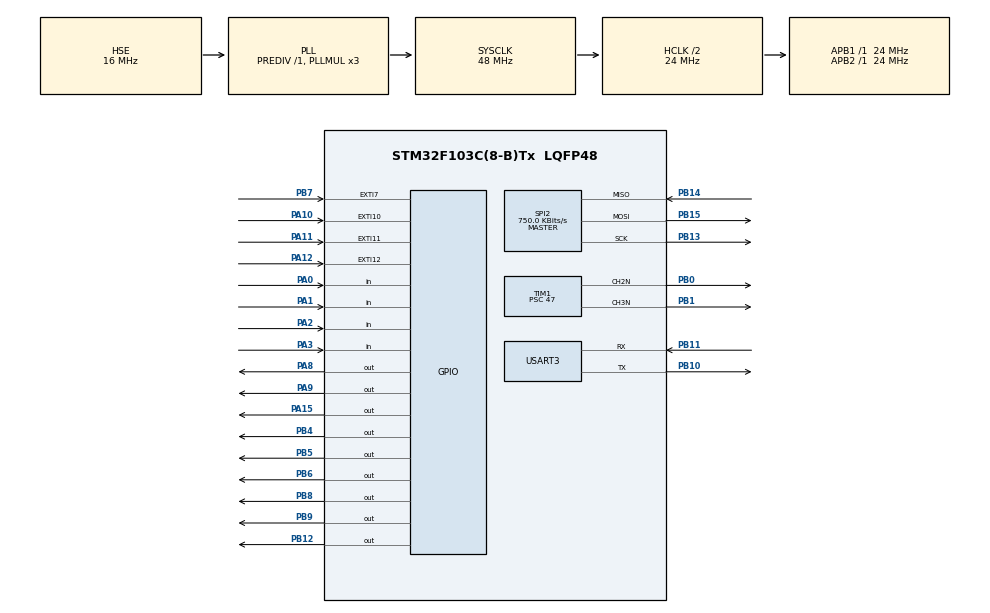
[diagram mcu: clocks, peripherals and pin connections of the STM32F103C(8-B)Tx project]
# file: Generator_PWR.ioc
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Mcu.Family=STM32F1
Mcu.Name=STM32F103C(8-B)Tx
Mcu.Package=LQFP48
NVIC.EXTI15_10_IRQn=true\:0\:0\:false\:false\:true\:true\:true
NVIC.EXTI9_5_IRQn=true\:0\:0\:false\:false\:true\:true\:true
NVIC.PriorityGroup=NVIC_PRIORITYGROUP_4
NVIC.TIM2_IRQn=true\:0\:0\:false\:false\:true\:true\:true
NVIC.TIM3_IRQn=true\:0\:0\:false\:false\:true\:true\:true
NVIC.TIM4_IRQn=true\:0\:0\:false\:false\:true\:true\:true
NVIC.USART3_IRQn=true\:0\:0\:false\:false\:true\:true\:true
PA0-WKUP.GPIO_PuPd=GPIO_PULLDOWN
PA0-WKUP.Signal=GPIO_Input
PA1.GPIO_PuPd=GPIO_PULLDOWN
PA1.Signal=GPIO_Input
PA10.GPIO_PuPd=GPIO_PULLDOWN
PA10.Signal=GPXTI10
PA11.GPIO_PuPd=GPIO_PULLDOWN
PA11.Signal=GPXTI11
PA12.GPIO_PuPd=GPIO_PULLDOWN
PA12.Signal=GPXTI12
PA13.Mode=Serial_Wire
PA13.Signal=SYS_JTMS-SWDIO
PA14.Mode=Serial_Wire
PA14.Signal=SYS_JTCK-SWCLK
PA15.GPIO_PuPd=GPIO_PULLDOWN
PA15.Signal=GPIO_Output
PA2.GPIO_PuPd=GPIO_PULLDOWN
PA2.Signal=GPIO_Input
PA3.GPIO_PuPd=GPIO_PULLDOWN
PA3.Signal=GPIO_Input
PA8.GPIO_PuPd=GPIO_PULLDOWN
PA8.GPIO_Speed=GPIO_SPEED_FREQ_MEDIUM
PA8.Signal=GPIO_Output
PA9.GPIO_PuPd=GPIO_PULLDOWN
PA9.GPIO_Speed=GPIO_SPEED_FREQ_MEDIUM
PA9.Signal=GPIO_Output
PB0.Mode=PWM Generation2 CH2N
PB0.Signal=TIM1_CH2N
PB1.Mode=PWM Generation3 CH3N
PB1.Signal=TIM1_CH3N
PB10.Mode=Asynchronous
PB10.Signal=USART3_TX
PB11.Mode=Asynchronous
PB11.Signal=USART3_RX
PB12.GPIO_PuPd=GPIO_PULLDOWN
PB12.GPIO_Speed=GPIO_SPEED_FREQ_MEDIUM
PB12.PinState=GPIO_PIN_RESET
PB12.Signal=GPIO_Output
PB13.Mode=Full_Duplex_Master
PB13.Signal=SPI2_SCK
PB14.Mode=Full_Duplex_Master
PB14.Signal=SPI2_MISO
PB15.Mode=Full_Duplex_Master
PB15.Signal=SPI2_MOSI
PB4.GPIO_PuPd=GPIO_PULLDOWN
PB4.GPIO_Speed=GPIO_SPEED_FREQ_MEDIUM
PB4.Signal=GPIO_Output
PB5.GPIO_PuPd=GPIO_PULLDOWN
PB5.GPIO_Speed=GPIO_SPEED_FREQ_MEDIUM
PB5.Signal=GPIO_Output
PB6.GPIO_PuPd=GPIO_PULLDOWN
PB6.GPIO_Speed=GPIO_SPEED_FREQ_MEDIUM
PB6.Signal=GPIO_Output
PB7.GPIO_PuPd=GPIO_PULLDOWN
PB7.Signal=GPXTI7
PB8.GPIO_PuPd=GPIO_PULLDOWN
PB8.GPIO_Speed=GPIO_SPEED_FREQ_MEDIUM
PB8.Signal=GPIO_Output
PB9.GPIO_PuPd=GPIO_PULLDOWN
PB9.GPIO_Speed=GPIO_SPEED_FREQ_MEDIUM
PB9.Signal=GPIO_Output
PD0-OSC_IN.Mode=HSE-External-Oscillator
PD0-OSC_IN.Signal=RCC_OSC_IN
PD1-OSC_OUT.Mode=HSE-External-Oscillator
PD1-OSC_OUT.Signal=RCC_OSC_OUT
ProjectManager.HeapSize=0x200
ProjectManager.StackSize=0x400
ProjectManager.TargetToolchain=TrueSTUDIO
RCC.AHBCLKDivider=RCC_SYSCLK_DIV2
RCC.AHBFreq_Value=24000000
RCC.APB1Freq_Value=24000000
RCC.APB1TimFreq_Value=24000000
RCC.APB2Freq_Value=24000000
RCC.APB2TimFreq_Value=24000000
RCC.HCLKFreq_Value=24000000
RCC.HSE_VALUE=16000000
RCC.PLLMUL=RCC_PLL_MUL3
RCC.PLLSourceVirtual=RCC_PLLSOURCE_HSE
RCC.SYSCLKFreq_VALUE=48000000
RCC.SYSCLKSource=RCC_SYSCLKSOURCE_PLLCLK
RCC.USBFreq_Value=48000000
SPI2.BaudRatePrescaler=SPI_BAUDRATEPRESCALER_32
SPI2.CalculateBaudRate=750.0 KBits/s
SPI2.DataSize=SPI_DATASIZE_16BIT
SPI2.Direction=SPI_DIRECTION_2LINES
SPI2.Mode=SPI_MODE_MASTER
SPI2.VirtualType=VM_MASTER
TIM1.BreakPolarity=TIM_BREAKPOLARITY_HIGH
TIM1.Channel-PWM\ Generation2\ CH2N=TIM_CHANNEL_2
TIM1.Channel-PWM\ Generation3\ CH3N=TIM_CHANNEL_3
TIM1.OC2Preload_PWM=ENABLE
TIM1.OC3Preload_PWM=ENABLE
TIM1.OCMode_PWM-PWM\ Generation2\ CH2N=TIM_OCMODE_PWM2
TIM1.OCMode_PWM-PWM\ Generation3\ CH3N=TIM_OCMODE_PWM2
TIM1.OCNPolarity_2=TIM_OCNPOLARITY_HIGH
TIM1.OCNPolarity_3=TIM_OCNPOLARITY_HIGH
TIM1.Period=10000
TIM1.Prescaler=47
TIM1.Pulse-PWM\ Generation2\ CH2N=9975
TIM1.Pulse-PWM\ Generation3\ CH3N=9975
TIM1.RepetitionCounter=4
TIM2.Period=49
TIM2.Prescaler=23
TIM3.Period=49
TIM3.Prescaler=23
TIM4.Period=49
TIM4.Prescaler=23
USART3.VirtualMode=VM_ASYNC
VP_TIM1_VS_OPM.Mode=OPM_bit
VP_TIM2_VS_ClockSourceINT.Mode=Internal
VP_TIM3_VS_ClockSourceINT.Mode=Internal
VP_TIM4_VS_ClockSourceINT.Mode=Internal
board=custom

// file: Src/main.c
/* USER CODE BEGIN Header */
/**
  ******************************************************************************
  * @file           : main.c
  * @brief          : Main program body
  ******************************************************************************
  * @attention
  *
  * <h2><center>&copy; Copyright (c) 2020 STMicroelectronics.
  * All rights reserved.</center></h2>
  *
  * This software component is licensed by ST under BSD 3-Clause license,
  * the "License"; You may not use this file except in compliance with the
  * License. You may obtain a copy of the License at:
  *                        opensource.org/licenses/BSD-3-Clause
  *
  ******************************************************************************
  */
/* USER CODE END Header */
#include "main.h"
#include "spi.h"
#include "tim.h"
#include "usart.h"
#include "gpio.h"

/* USER CODE BEGIN Includes */
#include "mb.h"
#include "mbport.h"
#include "user_mb_app.h"

#include "measuring_vd_vz.h"
#include "mode.h"
/* USER CODE END Includes */

/* USER CODE BEGIN PD */
extern uint16_t usSRegInBuf[];
extern uint16_t usSRegHoldBuf[];
/* USER CODE END PD */

/* USER CODE BEGIN PM */
int mode, start = 0;
/* USER CODE END PM */

void SystemClock_Config(void);

int main(void)
{

  /* MCU Configuration--------------------------------------------------------*/

  /* Reset of all peripherals, Initializes the Flash interface and the Systick. */
  HAL_Init();

  /* Configure the system clock */
  SystemClock_Config();

  /* Initialize all configured peripherals */
  MX_GPIO_Init();
  MX_SPI2_Init();
  MX_TIM1_Init();
  MX_TIM4_Init();
  MX_USART3_UART_Init();
  MX_TIM2_Init();
  MX_TIM3_Init();
  /* USER CODE BEGIN 2 */

	ISTD_ON;	ISTZ_ON;

	//HAL_TIMEx_PWMN_Stop(&htim1, TIM_CHANNEL_2);
	//HAL_TIMEx_PWMN_Stop(&htim1, TIM_CHANNEL_3);

	//configurationADC();

	eMBInit(MB_RTU, 2, &huart3, 115200, &htim4);
	eMBEnable();

  /* USER CODE END 2 */

  /* Infinite loop */
  /* USER CODE BEGIN WHILE */

  while (1)
  {
	  mode = usSRegHoldBuf[0];
	  start = usSRegHoldBuf[1];

	  switch (mode)
	  {
		  case 0:
		  waiting_mode();
		  break;

		  case 1:

		  HAL_GPIO_WritePin(GPIOB, GPIO_PIN_8, OFF); HAL_GPIO_WritePin(GPIOB, GPIO_PIN_9, ON);  //Светодиод катода диода
		  HAL_GPIO_WritePin(GPIOB, GPIO_PIN_6, OFF); HAL_GPIO_WritePin(GPIOB, GPIO_PIN_5, ON);  //Светодиод режима диода

			  if (start == 1)
			  {
				  modeVD();
			  }

			  if (start == 2)
			  {
				  modeVD_pulse();
			  }

		  break;

		  case 2:

		  HAL_GPIO_WritePin(GPIOB, GPIO_PIN_9, OFF); HAL_GPIO_WritePin(GPIOB, GPIO_PIN_8, ON);   //Светодиод катода VZ
		  HAL_GPIO_WritePin(GPIOB, GPIO_PIN_5, OFF); HAL_GPIO_WritePin(GPIOB, GPIO_PIN_6, ON);		//Светодиод режима VZ

			  if (start == 3)
			  {
				  modeVZ();
			  }
			  if (start == 4)
			  {
				  modeVZ_pulse();
			  }

		  break;

		  case 5:
		  diagnostic();

		  usSRegHoldBuf[0] = 0;
		  break;
	  }

	  HAL_Delay(20);

	  eMBPoll();
    /* USER CODE END WHILE */

  }
}

void SystemClock_Config(void)
{
  RCC_OscInitTypeDef RCC_OscInitStruct = {0};
  RCC_ClkInitTypeDef RCC_ClkInitStruct = {0};

  /** Initializes the RCC Oscillators according to the specified parameters
  * in the RCC_OscInitTypeDef structure.
  */
  RCC_OscInitStruct.OscillatorType = RCC_OSCILLATORTYPE_HSE;
  RCC_OscInitStruct.HSEState = RCC_HSE_ON;
  RCC_OscInitStruct.HSEPredivValue = RCC_HSE_PREDIV_DIV1;
  RCC_OscInitStruct.HSIState = RCC_HSI_ON;
  RCC_OscInitStruct.PLL.PLLState = RCC_PLL_ON;
  RCC_OscInitStruct.PLL.PLLSource = RCC_PLLSOURCE_HSE;
  RCC_OscInitStruct.PLL.PLLMUL = RCC_PLL_MUL3;
  if (HAL_RCC_OscConfig(&RCC_OscInitStruct) != HAL_OK)
  {
    Error_Handler();
  }
  /** Initializes the CPU, AHB and APB buses clocks
  */
  RCC_ClkInitStruct.ClockType = RCC_CLOCKTYPE_HCLK|RCC_CLOCKTYPE_SYSCLK
                              |RCC_CLOCKTYPE_PCLK1|RCC_CLOCKTYPE_PCLK2;
  RCC_ClkInitStruct.SYSCLKSource = RCC_SYSCLKSOURCE_PLLCLK;
  RCC_ClkInitStruct.AHBCLKDivider = RCC_SYSCLK_DIV2;
  RCC_ClkInitStruct.APB1CLKDivider = RCC_HCLK_DIV1;
  RCC_ClkInitStruct.APB2CLKDivider = RCC_HCLK_DIV1;

  if (HAL_RCC_ClockConfig(&RCC_ClkInitStruct, FLASH_LATENCY_1) != HAL_OK)
  {
    Error_Handler();
  }
}

void Error_Handler(void)
{
}

/************************ (C) COPYRIGHT STMicroelectronics *****END OF FILE****/
